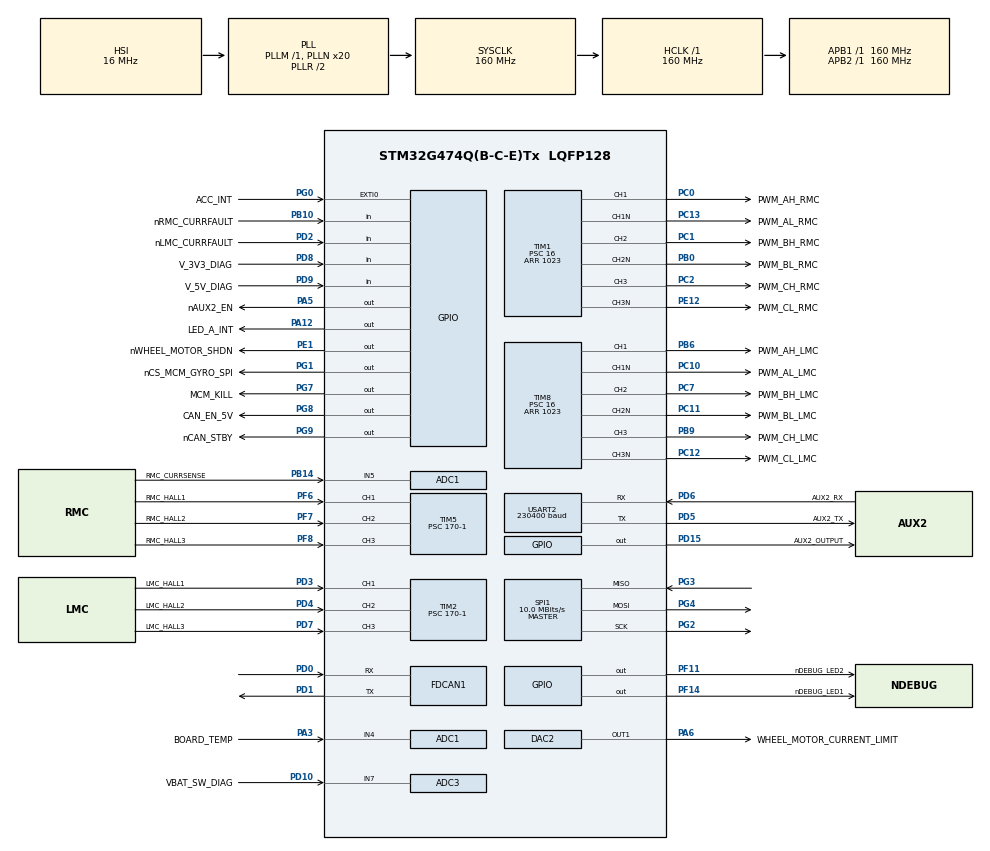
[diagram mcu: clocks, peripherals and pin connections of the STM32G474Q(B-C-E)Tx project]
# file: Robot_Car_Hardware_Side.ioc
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ADC1.Channel-0\#ChannelRegularConversion=ADC_CHANNEL_4
ADC1.NbrOfConversionFlag=1
ADC1.OffsetNumber-0\#ChannelRegularConversion=ADC_OFFSET_NONE
ADC1.Rank-0\#ChannelRegularConversion=1
ADC1.SamplingTime-0\#ChannelRegularConversion=ADC_SAMPLETIME_2CYCLES_5
ADC1.master=1
ADC3.Channel-0\#ChannelRegularConversion=ADC_CHANNEL_7
ADC3.NbrOfConversion=1
ADC3.NbrOfConversionFlag=1
ADC3.OffsetNumber-0\#ChannelRegularConversion=ADC_OFFSET_NONE
ADC3.Rank-0\#ChannelRegularConversion=1
ADC3.SamplingTime-0\#ChannelRegularConversion=ADC_SAMPLETIME_12CYCLES_5
ADC3.master=1
Dma.Request0=USART2_RX
Dma.USART2_RX.0.Direction=DMA_PERIPH_TO_MEMORY
Dma.USART2_RX.0.EventEnable=DISABLE
Dma.USART2_RX.0.Instance=DMA1_Channel1
Dma.USART2_RX.0.MemDataAlignment=DMA_MDATAALIGN_BYTE
Dma.USART2_RX.0.MemInc=DMA_MINC_ENABLE
Dma.USART2_RX.0.Mode=DMA_NORMAL
Dma.USART2_RX.0.PeriphDataAlignment=DMA_PDATAALIGN_BYTE
Dma.USART2_RX.0.PeriphInc=DMA_PINC_DISABLE
Dma.USART2_RX.0.Polarity=HAL_DMAMUX_REQ_GEN_RISING
Dma.USART2_RX.0.Priority=DMA_PRIORITY_VERY_HIGH
Dma.USART2_RX.0.RequestNumber=1
Dma.USART2_RX.0.SignalID=NONE
Dma.USART2_RX.0.SyncEnable=DISABLE
Dma.USART2_RX.0.SyncPolarity=HAL_DMAMUX_SYNC_NO_EVENT
Dma.USART2_RX.0.SyncRequestNumber=1
Dma.USART2_RX.0.SyncSignalID=NONE
FDCAN1.AutoRetransmission=ENABLE
FDCAN1.CalculateBaudRateNominal=500000
FDCAN1.CalculateTimeBitNominal=2000
FDCAN1.CalculateTimeQuantumNominal=100.0
FDCAN1.ClockDivider=FDCAN_CLOCK_DIV8
FDCAN1.DataPrescaler=2
FDCAN1.DataTimeSeg1=15
FDCAN1.DataTimeSeg2=4
FDCAN1.NominalPrescaler=2
FDCAN1.NominalTimeSeg1=15
FDCAN1.NominalTimeSeg2=4
Mcu.Family=STM32G4
Mcu.Name=STM32G474Q(B-C-E)Tx
Mcu.Package=LQFP128
NVIC.DMA1_Channel1_IRQn=true\:0\:0\:false\:false\:true\:false\:true\:true
NVIC.EXTI0_IRQn=true\:1\:0\:true\:false\:true\:true\:true\:true
NVIC.PriorityGroup=NVIC_PRIORITYGROUP_4
NVIC.TIM2_IRQn=true\:2\:0\:true\:false\:true\:true\:true\:true
NVIC.TIM5_IRQn=true\:2\:0\:true\:false\:true\:true\:true\:true
NVIC.USART2_IRQn=true\:0\:0\:false\:false\:true\:true\:true\:true
PA12.GPIO_Label=LED_A_INT
PA12.Signal=GPIO_Output
PA13.Mode=JTAG_5_pins
PA13.Signal=SYS_JTMS-SWDIO
PA14.Mode=JTAG_5_pins
PA14.Signal=SYS_JTCK-SWCLK
PA15.Mode=JTAG_5_pins
PA15.Signal=SYS_JTDI
PA3.GPIO_Label=BOARD_TEMP
PA3.Mode=IN4-Single-Ended
PA3.Signal=ADC1_IN4
PA5.GPIO_Label=nAUX2_EN
PA5.Signal=GPIO_Output
PA6.GPIO_Label=WHEEL_MOTOR_CURRENT_LIMIT
PA6.Signal=COMP_DAC21_group
PB0.GPIO_Label=PWM_BL_RMC
PB0.Mode=PWM Generation2 CH2 CH2N
PB0.Signal=TIM1_CH2N
PB10.GPIO_Label=nRMC_CURRFAULT
PB10.Signal=GPIO_Input
PB14.GPIO_Label=RMC_CURRSENSE
PB14.Mode=IN5-Single-Ended
PB14.Signal=ADC1_IN5
PB3.Mode=JTAG_5_pins
PB3.Signal=SYS_JTDO-SWO
PB4.Mode=JTAG_5_pins
PB4.Signal=SYS_JTRST
PB6.GPIO_FM6=SYSCFG_FASTMODEPLUS_PB6
PB6.GPIO_Label=PWM_AH_LMC
PB6.Signal=S_TIM8_CH1
PB9.GPIO_FM9=SYSCFG_FASTMODEPLUS_PB9
PB9.GPIO_Label=PWM_CH_LMC
PB9.Signal=S_TIM8_CH3
PC0.GPIO_Label=PWM_AH_RMC
PC0.Signal=S_TIM1_CH1
PC1.GPIO_Label=PWM_BH_RMC
PC1.Signal=S_TIM1_CH2
PC10.GPIO_Label=PWM_AL_LMC
PC10.Mode=PWM Generation1 CH1 CH1N
PC10.Signal=TIM8_CH1N
PC11.GPIO_Label=PWM_BL_LMC
PC11.Mode=PWM Generation2 CH2 CH2N
PC11.Signal=TIM8_CH2N
PC12.GPIO_Label=PWM_CL_LMC
PC12.Mode=PWM Generation3 CH3 CH3N
PC12.Signal=TIM8_CH3N
PC13.GPIO_Label=PWM_AL_RMC
PC13.Mode=PWM Generation1 CH1 CH1N
PC13.Signal=TIM1_CH1N
PC2.GPIO_Label=PWM_CH_RMC
PC2.Signal=S_TIM1_CH3
PC7.GPIO_Label=PWM_BH_LMC
PC7.Signal=S_TIM8_CH2
PD0.GPIO_Speed=GPIO_SPEED_FREQ_VERY_HIGH
PD0.Mode=FDCAN_Activate
PD0.Signal=FDCAN1_RX
PD1.GPIO_Speed=GPIO_SPEED_FREQ_VERY_HIGH
PD1.Mode=FDCAN_Activate
PD1.Signal=FDCAN1_TX
PD10.GPIO_Label=VBAT_SW_DIAG
PD10.Mode=IN7-Single-Ended
PD10.Signal=ADC3_IN7
PD15.GPIO_Label=AUX2_OUTPUT
PD15.Signal=GPIO_Output
PD2.GPIO_Label=nLMC_CURRFAULT
PD2.Signal=GPIO_Input
PD3.GPIO_Label=LMC_HALL1
PD3.Signal=S_TIM2_CH1
PD4.GPIO_Label=LMC_HALL2
PD4.Signal=S_TIM2_CH2
PD5.GPIO_Label=AUX2_TX
PD5.Mode=Asynchronous
PD5.Signal=USART2_TX
PD6.GPIO_Label=AUX2_RX
PD6.Mode=Asynchronous
PD6.Signal=USART2_RX
PD7.GPIO_Label=LMC_HALL3
PD7.Signal=S_TIM2_CH3
PD8.GPIO_Label=V_3V3_DIAG
PD8.Signal=GPIO_Input
PD9.GPIO_Label=V_5V_DIAG
PD9.Signal=GPIO_Input
PE1.GPIO_Label=nWHEEL_MOTOR_SHDN
PE1.Signal=GPIO_Output
PE12.GPIO_Label=PWM_CL_RMC
PE12.Mode=PWM Generation3 CH3 CH3N
PE12.Signal=TIM1_CH3N
PE7.GPIO_Label=LMC_CURRSENSE
PE7.Signal=ADC3_IN4
PF0-OSC_IN.Mode=HSE-External-Oscillator
PF0-OSC_IN.Signal=RCC_OSC_IN
PF1-OSC_OUT.Mode=HSE-External-Oscillator
PF1-OSC_OUT.Signal=RCC_OSC_OUT
PF11.GPIO_Label=nDEBUG_LED2
PF11.Signal=GPIO_Output
PF14.GPIO_Label=nDEBUG_LED1
PF14.Signal=GPIO_Output
PF6.GPIO_Label=RMC_HALL1
PF6.Signal=S_TIM5_CH1
PF7.GPIO_Label=RMC_HALL2
PF7.Signal=S_TIM5_CH2
PF8.GPIO_Label=RMC_HALL3
PF8.Signal=S_TIM5_CH3
PG0.GPIO_Label=ACC_INT
PG0.GPIO_ModeDefaultEXTI=GPIO_MODE_IT_RISING
PG0.Signal=GPXTI0
PG1.GPIO_Label=nCS_MCM_GYRO_SPI
PG1.PinState=GPIO_PIN_SET
PG1.Signal=GPIO_Output
PG2.Mode=Full_Duplex_Master
PG2.Signal=SPI1_SCK
PG3.Mode=Full_Duplex_Master
PG3.Signal=SPI1_MISO
PG4.Mode=Full_Duplex_Master
PG4.Signal=SPI1_MOSI
PG7.GPIO_Label=MCM_KILL
PG7.Signal=GPIO_Output
PG8.GPIO_Label=CAN_EN_5V
PG8.Signal=GPIO_Output
PG9.GPIO_Label=nCAN_STBY
PG9.Signal=GPIO_Output
ProjectManager.HeapSize=0x200
ProjectManager.StackSize=0x400
ProjectManager.TargetToolchain=STM32CubeIDE
RCC.ADC12Freq_Value=160000000
RCC.ADC345Freq_Value=160000000
RCC.AHBFreq_Value=160000000
RCC.APB1Freq_Value=160000000
RCC.APB1TimFreq_Value=160000000
RCC.APB2Freq_Value=160000000
RCC.APB2TimFreq_Value=160000000
RCC.CortexFreq_Value=160000000
RCC.EXTERNAL_CLOCK_VALUE=12288000
RCC.HCLKFreq_Value=160000000
RCC.HSE_VALUE=16000000
RCC.HSI48_VALUE=48000000
RCC.HSI_VALUE=16000000
RCC.LSE_VALUE=32768
RCC.PLLN=20
RCC.SYSCLKFreq_VALUE=160000000
RCC.SYSCLKSource=RCC_SYSCLKSOURCE_PLLCLK
RCC.USBFreq_Value=160000000
RCC.VCOOutputFreq_Value=320000000
SH.COMP_DAC21_group.0=DAC2_OUT1,DAC_OUT1
SH.S_TIM1_CH1.0=TIM1_CH1,PWM Generation1 CH1 CH1N
SH.S_TIM1_CH2.0=TIM1_CH2,PWM Generation2 CH2 CH2N
SH.S_TIM1_CH3.0=TIM1_CH3,PWM Generation3 CH3 CH3N
SH.S_TIM2_CH1.0=TIM2_CH1,Input_Capture1_from_TI1
SH.S_TIM2_CH2.0=TIM2_CH2,Input_Capture2_from_TI2
SH.S_TIM2_CH3.0=TIM2_CH3,Input_Capture3_from_TI3
SH.S_TIM5_CH1.0=TIM5_CH1,Input_Capture1_from_TI1
SH.S_TIM5_CH2.0=TIM5_CH2,Input_Capture2_from_TI2
SH.S_TIM5_CH3.0=TIM5_CH3,Input_Capture3_from_TI3
SH.S_TIM8_CH1.0=TIM8_CH1,PWM Generation1 CH1 CH1N
SH.S_TIM8_CH2.0=TIM8_CH2,PWM Generation2 CH2 CH2N
SH.S_TIM8_CH3.0=TIM8_CH3,PWM Generation3 CH3 CH3N
SPI1.BaudRatePrescaler=SPI_BAUDRATEPRESCALER_16
SPI1.CalculateBaudRate=10.0 MBits/s
SPI1.DataSize=SPI_DATASIZE_8BIT
SPI1.Direction=SPI_DIRECTION_2LINES
SPI1.Mode=SPI_MODE_MASTER
SPI1.VirtualType=VM_MASTER
TIM1.AutoReloadPreload=TIM_AUTORELOAD_PRELOAD_DISABLE
TIM1.Channel-PWM\ Generation1\ CH1\ CH1N=TIM_CHANNEL_1
TIM1.Channel-PWM\ Generation2\ CH2\ CH2N=TIM_CHANNEL_2
TIM1.Channel-PWM\ Generation3\ CH3\ CH3N=TIM_CHANNEL_3
TIM1.PeriodNoDither=1023
TIM1.Prescaler=16
TIM2.Channel-Input_Capture1_from_TI1=TIM_CHANNEL_1
TIM2.Channel-Input_Capture2_from_TI2=TIM_CHANNEL_2
TIM2.Channel-Input_Capture3_from_TI3=TIM_CHANNEL_3
TIM2.ICPolarity_CH1=TIM_INPUTCHANNELPOLARITY_BOTHEDGE
TIM2.ICPolarity_CH2=TIM_INPUTCHANNELPOLARITY_BOTHEDGE
TIM2.ICPolarity_CH3=TIM_INPUTCHANNELPOLARITY_BOTHEDGE
TIM2.Prescaler=170-1
TIM5.Channel-Input_Capture1_from_TI1=TIM_CHANNEL_1
TIM5.Channel-Input_Capture2_from_TI2=TIM_CHANNEL_2
TIM5.Channel-Input_Capture3_from_TI3=TIM_CHANNEL_3
TIM5.ICPolarity_CH1=TIM_INPUTCHANNELPOLARITY_BOTHEDGE
TIM5.ICPolarity_CH2=TIM_INPUTCHANNELPOLARITY_BOTHEDGE
TIM5.ICPolarity_CH3=TIM_INPUTCHANNELPOLARITY_BOTHEDGE
TIM5.Prescaler=170-1
TIM8.AutoReloadPreload=TIM_AUTORELOAD_PRELOAD_DISABLE
TIM8.Channel-PWM\ Generation1\ CH1\ CH1N=TIM_CHANNEL_1
TIM8.Channel-PWM\ Generation2\ CH2\ CH2N=TIM_CHANNEL_2
TIM8.Channel-PWM\ Generation3\ CH3\ CH3N=TIM_CHANNEL_3
TIM8.PeriodNoDither=1023
TIM8.Prescaler=16
USART2.BaudRate=230400
USART2.OverSampling=UART_OVERSAMPLING_16
USART2.VirtualMode-Asynchronous=VM_ASYNC
VP_SYS_VS_DBSignals.Mode=DisableDeadBatterySignals
VP_TIM1_VS_ClockSourceINT.Mode=Internal
VP_TIM2_VS_ClockSourceINT.Mode=Internal
VP_TIM5_VS_ClockSourceINT.Mode=Internal
VP_TIM8_VS_ClockSourceINT.Mode=Internal
board=custom

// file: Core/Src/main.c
/* USER CODE BEGIN Header */
/**
  ******************************************************************************
  * @file           : main.c
  * @brief          : Main program body
  ******************************************************************************
  * @attention
  *
  * Copyright (c) 2024 STMicroelectronics.
  * All rights reserved.
  *
  * This software is licensed under terms that can be found in the LICENSE file
  * in the root directory of this software component.
  * If no LICENSE file comes with this software, it is provided AS-IS.
  *
  ******************************************************************************
  */
/* USER CODE END Header */
#include "main.h"
#include "adc.h"
#include "dac.h"
#include "dma.h"
#include "fdcan.h"
#include "spi.h"
#include "tim.h"
#include "usart.h"
#include "gpio.h"

/* USER CODE BEGIN Includes */
#include "system_diagnostics.h"
#include "Coms_Handler.h"
#include "IMU.h"
#include "command_handler.h"
#include "robot_system.h"

/* USER CODE END Includes */

/* USER CODE BEGIN PV */

SystemDiagnostics_t sys = {
		.Mcm_Kill_Port = MCM_KILL_GPIO_Port,  // GPIO Port for current fault
		.Mcm_Kill_Pin = MCM_KILL_Pin,
		.batAdc = &hadc3,
		.batAdcChannel = ADC_CHANNEL_7,
		.sleepTimeout = 0
};
IMU_HandleTypeDef imu = {
	    .hspi = &hspi1,      // SPI handle
	    .cs_port = nCS_MCM_GYRO_SPI_GPIO_Port,        // GPIO port for CS pin
	    .cs_pin = nCS_MCM_GYRO_SPI_Pin,              // GPIO pin for CS
	    .int_port = ACC_INT_GPIO_Port,       // GPIO port for interrupt pin
	    .int_pin = ACC_INT_Pin
};

RobotSystem robot = {
		.Enable_Port = nWHEEL_MOTOR_SHDN_GPIO_Port,
		.Enable_Pin = nWHEEL_MOTOR_SHDN_Pin,
		.currentLimitDAC = &hdac2,
		.currentLimitDACChannel = DAC_CHANNEL_1
};

Motor rightWheel = {
		.Hall1_Channel = TIM_CHANNEL_1,
		.Hall2_Channel = TIM_CHANNEL_2,
		.Hall3_Channel = TIM_CHANNEL_3,
		.Fault_Port = nLMC_CURRFAULT_GPIO_Port,
		.Fault_Pin = nLMC_CURRFAULT_Pin,
		.Hall1_Port = LMC_HALL1_GPIO_Port,  // GPIO Port for Hall Sensor 1
		.Hall1_Pin = LMC_HALL1_Pin,       // GPIO Pin for Hall Sensor 1
		.Hall2_Port = LMC_HALL2_GPIO_Port,  // GPIO Port for Hall Sensor 2
		.Hall2_Pin = LMC_HALL2_Pin,      // GPIO Pin for Hall Sensor 2
		.Hall3_Port = LMC_HALL3_GPIO_Port,  // GPIO Port for Hall Sensor 3
		.Hall3_Pin = LMC_HALL3_Pin,        // GPIO Pin for Hall Sensor 3
		.HallTimer = &htim2,
		.Timer = &htim8,  // Timer for PWM control
		.phaseChannel = {TIM_CHANNEL_1, TIM_CHANNEL_2, TIM_CHANNEL_3},
		.commutationOrder = {6,2,3,1,5,4}, //011, 010, 110, 100, 101, 001
		.hallState = 0,
		.isDirInverted = true,
		.direction = true,
		.acceleration = MAX_MOTOR_RPM/4, //rpm change per pid loop
		.pid.Kp = 150,
		.pid.Ki = 500,
		.pid.Kd = 10
};

Motor leftWheel = {
		.Hall1_Channel = TIM_CHANNEL_1,
		.Hall2_Channel = TIM_CHANNEL_2,
		.Hall3_Channel = TIM_CHANNEL_3,
		.Fault_Port = nRMC_CURRFAULT_GPIO_Port,
		.Fault_Pin = nRMC_CURRFAULT_Pin,
		.Hall1_Port = RMC_HALL1_GPIO_Port,  // GPIO Port for Hall Sensor 1
		.Hall1_Pin = RMC_HALL1_Pin,       // GPIO Pin for Hall Sensor 1
		.Hall2_Port = RMC_HALL2_GPIO_Port,  // GPIO Port for Hall Sensor 2
		.Hall2_Pin = RMC_HALL2_Pin,      // GPIO Pin for Hall Sensor 2
		.Hall3_Port = RMC_HALL3_GPIO_Port,  // GPIO Port for Hall Sensor 3
		.Hall3_Pin = RMC_HALL3_Pin,        // GPIO Pin for Hall Sensor 3
		.HallTimer = &htim5,
		.Timer = &htim1,  // Timer for PWM control
		.phaseChannel = {TIM_CHANNEL_1, TIM_CHANNEL_2, TIM_CHANNEL_3},
		.commutationOrder = {6,2,3,1,5,4}, //011, 010, 110, 100, 101, 001
		.hallState = 0,
		.isDirInverted = false,
		.direction = true,
		.acceleration = MAX_MOTOR_RPM/4, //rpm change per pid loop
		.pid.Kp = 150,
		.pid.Ki = 500,
		.pid.Kd = 10
};

ComsInterface_t serial;
ComsInterface_t canbus;
DecodedPacket_t input;
DecodedPacket_t response;

/* USER CODE END PV */

void SystemClock_Config(void);
/* USER CODE BEGIN PFP */

void HAL_TIM_IC_CaptureCallback(TIM_HandleTypeDef *htim);
void HAL_GPIO_EXTI_Callback(uint16_t GPIO_Pin);

void HAL_FDCAN_RxFifo0Callback(FDCAN_HandleTypeDef *hfdcan, uint32_t RxFifo0ITs);
void HAL_UARTEx_RxEventCallback(UART_HandleTypeDef *huart, uint16_t size);

/* USER CODE END PFP */

int main(void)
{

  /* MCU Configuration--------------------------------------------------------*/

  /* Reset of all peripherals, Initializes the Flash interface and the Systick. */
  HAL_Init();

  /* Configure the system clock */
  SystemClock_Config();

  /* Initialize all configured peripherals */
  MX_GPIO_Init();
  MX_DMA_Init();
  MX_ADC3_Init();
  MX_DAC2_Init();
  MX_USART2_UART_Init();
  MX_SPI1_Init();
  MX_ADC1_Init();
  MX_TIM1_Init();
  MX_TIM8_Init();
  MX_TIM2_Init();
  MX_TIM5_Init();
  MX_FDCAN1_Init();
  /* USER CODE BEGIN 2 */

  HAL_GPIO_WritePin(nCAN_STBY_GPIO_Port, nCAN_STBY_Pin, GPIO_PIN_SET);
  HAL_GPIO_WritePin(CAN_EN_5V_GPIO_Port, CAN_EN_5V_Pin, GPIO_PIN_SET);

  RobotSystem_Init(&robot, leftWheel, rightWheel, imu, sys);
  Comm_Init(&serial, COMM_UART, &huart2);
  //Comm_Init(&canbus, COMM_CAN, &hfdcan1);
  HAL_Delay(250);
  DecodedPacket_t readyPacket = {
		  .command = COMMAND_READY,
		  .length = 0,
		  .invalid = false
  };
  Comm_Send(&serial, &readyPacket);

  readyPacket.length = 2;
  readyPacket.data[0] = 0xAA;
  readyPacket.data[1] = 0xCC;
//  uint32_t currentTime = 0;
//  uint32_t lastTime = 0;
  /* USER CODE END 2 */

  /* Infinite loop */
  /* USER CODE BEGIN WHILE */

  while (1)
  {

	  Comm_Process(&serial);
	  RobotSystem_Calculate(&robot);

	  CommandHandler_ProcessCommand(&serial, &robot);

//	  currentTime = HAL_GetTick();
//	  if(currentTime - lastTime > 250) {
//		  HAL_StatusTypeDef state = Comm_Send(&canbus, &readyPacket);
//		  lastTime = currentTime;
//	  }
    /* USER CODE END WHILE */

  }
}

void SystemClock_Config(void)
{
  RCC_OscInitTypeDef RCC_OscInitStruct = {0};
  RCC_ClkInitTypeDef RCC_ClkInitStruct = {0};

  /** Configure the main internal regulator output voltage
  */
  HAL_PWREx_ControlVoltageScaling(PWR_REGULATOR_VOLTAGE_SCALE1_BOOST);

  /** Initializes the RCC Oscillators according to the specified parameters
  * in the RCC_OscInitTypeDef structure.
  */
  RCC_OscInitStruct.OscillatorType = RCC_OSCILLATORTYPE_HSI;
  RCC_OscInitStruct.HSIState = RCC_HSI_ON;
  RCC_OscInitStruct.HSICalibrationValue = RCC_HSICALIBRATION_DEFAULT;
  RCC_OscInitStruct.PLL.PLLState = RCC_PLL_ON;
  RCC_OscInitStruct.PLL.PLLSource = RCC_PLLSOURCE_HSI;
  RCC_OscInitStruct.PLL.PLLM = RCC_PLLM_DIV1;
  RCC_OscInitStruct.PLL.PLLN = 20;
  RCC_OscInitStruct.PLL.PLLP = RCC_PLLP_DIV2;
  RCC_OscInitStruct.PLL.PLLQ = RCC_PLLQ_DIV2;
  RCC_OscInitStruct.PLL.PLLR = RCC_PLLR_DIV2;
  if (HAL_RCC_OscConfig(&RCC_OscInitStruct) != HAL_OK)
  {
    Error_Handler();
  }

  /** Initializes the CPU, AHB and APB buses clocks
  */
  RCC_ClkInitStruct.ClockType = RCC_CLOCKTYPE_HCLK|RCC_CLOCKTYPE_SYSCLK
                              |RCC_CLOCKTYPE_PCLK1|RCC_CLOCKTYPE_PCLK2;
  RCC_ClkInitStruct.SYSCLKSource = RCC_SYSCLKSOURCE_PLLCLK;
  RCC_ClkInitStruct.AHBCLKDivider = RCC_SYSCLK_DIV1;
  RCC_ClkInitStruct.APB1CLKDivider = RCC_HCLK_DIV1;
  RCC_ClkInitStruct.APB2CLKDivider = RCC_HCLK_DIV1;

  if (HAL_RCC_ClockConfig(&RCC_ClkInitStruct, FLASH_LATENCY_4) != HAL_OK)
  {
    Error_Handler();
  }
}

/* USER CODE BEGIN 4 */

void HAL_TIM_IC_CaptureCallback(TIM_HandleTypeDef *htim) {
	RobotSystem_InterruptHandler(&robot, htim);
}

void HAL_GPIO_EXTI_Callback(uint16_t GPIO_Pin)
{
	RobotSystem_ImuInterruptHandler(&robot, GPIO_Pin);

}

void HAL_UARTEx_RxEventCallback(UART_HandleTypeDef *huart, uint16_t size) {
	Comm_Receive(&serial, 0, size);
}

void HAL_FDCAN_RxFifo0Callback(FDCAN_HandleTypeDef *hfdcan, uint32_t RxFifo0ITs)
{
	if ((RxFifo0ITs & FDCAN_IT_RX_FIFO0_NEW_MESSAGE) != 0)
	{
		Comm_Receive(&canbus, 0, 0);
	}
}

/* USER CODE END 4 */

void Error_Handler(void)
{
  __disable_irq();
  while (1)
  {
  }
}
